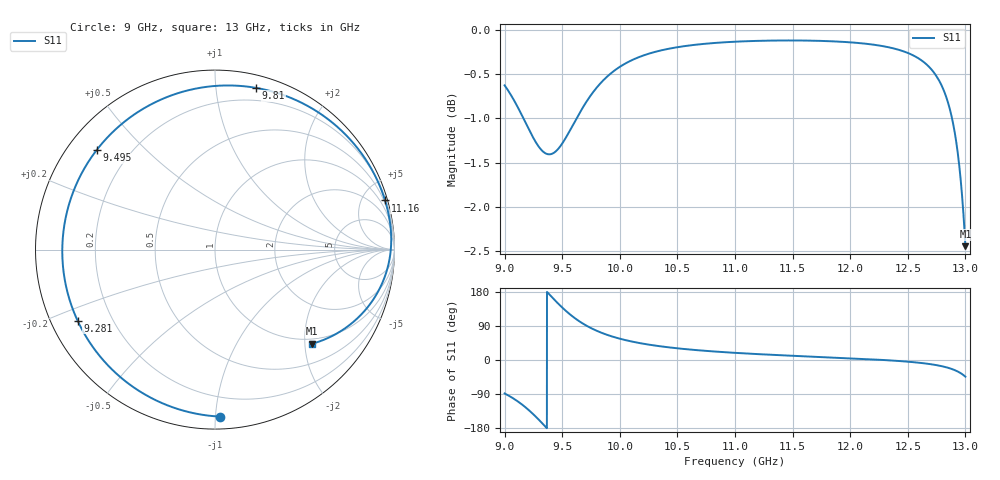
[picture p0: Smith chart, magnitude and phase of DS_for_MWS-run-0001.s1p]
! TOUCHSTONE file generated by CST DESIGN STUDIO
! Date and time: Tue Feb  4 17:27:06 2025
! Project name: C:\Work\MatlabApps\UnitCellOptimizationMatlab\CST\unitcell.cst
! Tree item: Tasks\Sweep1\SPara1\S-Parameters
! Header version: 2024
! Port assignment regex: !\s*Touchstone port\s*([0-9]+)\s*=\s*(CST MWS port|CST DES external port|CST DES block port)\s*(.+)\s* \(\"(.*)\"\)(\s*mode\s*([0-9]+))?.*
! Touchstone port assignment:
! Touchstone port 1 = CST DES external port 1 ("")
# GHz S MA R 50
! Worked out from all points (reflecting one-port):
!   4001 points, 9 GHz to 13 GHz, reference 50 ohm
!   lowest |S11| = -2.4 dB at 13 GHz (marker M1), VSWR 7.14, Z = 44.5 - j108 ohm
!   phase of S11 starts at -88 deg and turns -316 deg over the sweep
!   S11 on the Smith chart (normalised r, x): 9 GHz: 0.07, -1.03; 9.281 GHz: 0.08, -0.24; 9.495 GHz: 0.08, +0.36; 9.81 GHz: 0.10, +1.28; 11.16 GHz: 0.35, +7.04; 13 GHz: 0.89, -2.17
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9  0.9307 -88.3
9.08  0.9131 -102.3
9.15  0.895 -117.2
9.215  0.8775 -133.6
9.281  0.8619 -152.7
9.334  0.8535 -169.3
9.385  0.8505 174.2
9.437  0.853 157.5
9.495  0.8616 139.9
9.5  0.8626 138.5
9.566  0.8771 120.8
9.636  0.8941 104.7
9.714  0.9117 90.0
9.81  0.9297 75.7
9.901  0.9428 65.2
10  0.9535 56.2
10.101  0.9616 48.9
10.216  0.9683 42.3
10.5  0.9783 30.8
11  0.9853 18.9
11.16  0.9862 16.1
11.5  0.9869 11.1
12  0.9845 4.5
12.5  0.9709 -4.4
12.688  0.953 -10.6
12.833  0.9169 -19.1
12.922  0.8631 -28.7
13  0.7543 -44.0
